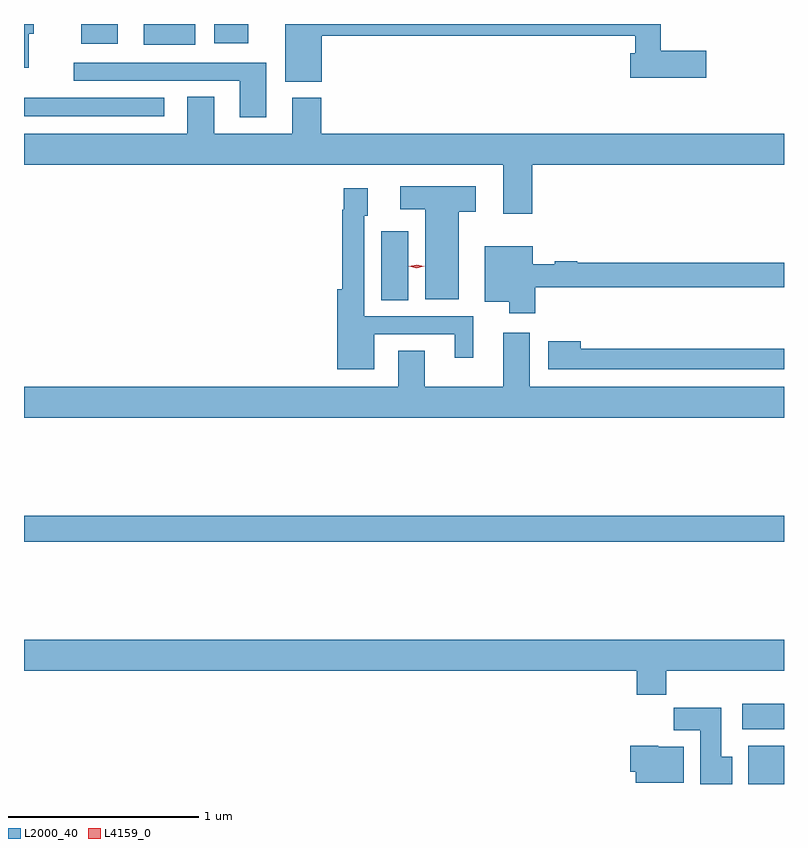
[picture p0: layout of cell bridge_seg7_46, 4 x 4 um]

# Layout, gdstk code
import gdstk
lib = gdstk.Library(unit=1e-6, precision=1e-09)
def R(c, l, rs):  # rectangles x0, y0, x1, y1
    for r in rs: c.add(gdstk.rectangle(r[:2], r[2:], *l))
def P(c, l, *ps):  # polygons
    for p in ps: c.add(gdstk.Polygon(p, *l))
L2000_40 = (2000, 40)
L4159_0 = (4159, 0)

bridge_seg7_46 = lib.new_cell('bridge_seg7_46')
R(bridge_seg7_46, L2000_40, [(940.067,1029.325,940.255,1029.526), (940.035,1029.614,940.255,1029.748), (936.255,1030.6,940.255,1030.736), (938.135,1031.872,938.278,1032.235), (936.255,1032.84,936.994,1032.936), (936.884,1033.217,937.156,1033.325), (936.557,1033.22,936.748,1033.325), (937.256,1033.223,937.435,1033.325)])
P(bridge_seg7_46, L2000_40, [(937.822,1033.264),(939.473,1033.264),(939.473,1033.171),(939.446,1033.171),(939.446,1033.042),(939.847,1033.042),(939.847,1033.184),(939.605,1033.184),(939.605,1033.325),(937.631,1033.325),(937.631,1033.022),(937.822,1033.022)],
  [(936.28,1033.275),(936.307,1033.275),(936.307,1033.325),(936.255,1033.325),(936.255,1033.095),(936.28,1033.095)],
  [(937.531,1033.122),(936.516,1033.122),(936.516,1033.026),(937.391,1033.026),(937.391,1032.834),(937.531,1032.834)],
  [(938.93,1032.584),(940.255,1032.584),(940.255,1032.748),(937.82,1032.748),(937.82,1032.937),(937.667,1032.937),(937.667,1032.748),(937.255,1032.748),(937.255,1032.941),(937.115,1032.941),(937.115,1032.748),(936.255,1032.748),(936.255,1032.584),(938.777,1032.584),(938.777,1032.327),(938.93,1032.327)],
  [(938.542,1032.338),(938.632,1032.338),(938.632,1032.472),(938.235,1032.472),(938.235,1032.35),(938.366,1032.35),(938.366,1031.876),(938.542,1031.876)],
  [(938.098,1031.691),(938.522,1031.691),(938.522,1031.568),(938.62,1031.568),(938.62,1031.787),(938.046,1031.787),(938.046,1032.315),(938.065,1032.315),(938.065,1032.46),(937.938,1032.46),(937.938,1032.347),(937.93,1032.347),(937.93,1031.929),(937.904,1031.929),(937.904,1031.507),(938.098,1031.507)],
  [(938.945,1031.939),(939.268,1031.939),(939.268,1031.94),(940.255,1031.94),(940.255,1032.068),(939.168,1032.068),(939.168,1032.076),(939.048,1032.076),(939.048,1032.061),(938.932,1032.061),(938.932,1032.154),(938.681,1032.154),(938.681,1031.864),(938.81,1031.864),(938.81,1031.802),(938.945,1031.802)],
  [(940.255,1031.416),(938.917,1031.416),(938.917,1031.701),(938.777,1031.701),(938.777,1031.416),(938.365,1031.416),(938.365,1031.606),(938.225,1031.606),(938.225,1031.416),(936.255,1031.416),(936.255,1031.252),(940.255,1031.252)],
  [(940.255,1031.617),(939.185,1031.617),(939.185,1031.656),(939.014,1031.656),(939.014,1031.508),(940.255,1031.508)],
  [(939.635,1029.92),(940.255,1029.92),(940.255,1030.084),(936.255,1030.084),(936.255,1029.92),(939.479,1029.92),(939.479,1029.796),(939.635,1029.796)],
  [(939.982,1029.468),(939.925,1029.468),(939.925,1029.727),(939.676,1029.727),(939.676,1029.608),(939.815,1029.608),(939.815,1029.325),(939.982,1029.325)],
  [(939.727,1029.52),(939.594,1029.52),(939.594,1029.526),(939.446,1029.526),(939.446,1029.39),(939.476,1029.39),(939.476,1029.332),(939.727,1029.332)])
P(bridge_seg7_46, L4159_0, [(938.321,1032.039),(938.281,1032.049),(938.281,1032.049),(938.281,1032.049),(938.321,1032.059),(938.362,1032.049),(938.362,1032.049),(938.362,1032.049)])

lib.write_gds('bridge_seg7_46.gds')
